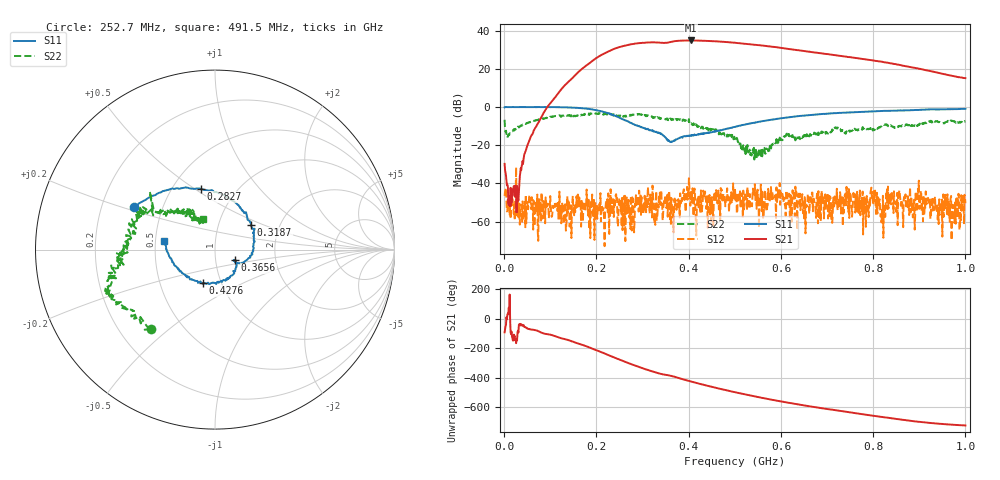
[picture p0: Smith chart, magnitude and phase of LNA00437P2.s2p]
! Created with skrf 1.9.0 (http://scikit-rf.org).
# Hz S RI R 50.0
!freq ReS11 ImS11 ReS21 ImS21 ReS12 ImS12 ReS22 ImS22
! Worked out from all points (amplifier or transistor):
!   1001 points, 1 MHz to 1 GHz, reference 50 ohm
!   highest |S21| = 34.9 dB at 404.6 MHz (marker M1)
!   |S21| within 3 dB of that: 256.9 MHz to 571.6 MHz (314.6 MHz wide, 76 % of centre)
!   unconditionally stable (mu >= 1): 231.8 MHz to 311.5 MHz; 401.3 MHz to 899 MHz; 899.1 MHz to end of sweep (the widest 3 of 39)
!   at 166.8 MHz: K = 4.72, MAG = 31.4 dB, |S12| = -62.6 dB
!   at 500.5 MHz: K = 1.46, MAG = 34.3 dB, |S12| = -42.9 dB
!   at 1 GHz: K = 4.20, MAG = 23.6 dB, |S12| = -50.4 dB
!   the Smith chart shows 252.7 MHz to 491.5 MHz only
!   S11 on the Smith chart (normalised r, x): 252.7 MHz: 0.34, +0.22; 282.7 MHz: 0.69, +0.53; 318.7 MHz: 1.43, +0.42; 365.6 MHz: 1.24, -0.15; 427.6 MHz: 0.82, -0.32; 491.5 MHz: 0.56, +0.06
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1000000  0.9828 0.00661  -0.00201 -0.0325  -0.00433 0.00189  0.3678 0.2826
1.09891e8  0.5206 -0.8499  -0.8447 -1.548  0.00274 0.00112  0.4427 -0.3769
1.67833e8  -0.2138 -0.907  -9.785 -0.6437  -6.4e-05 -0.00385  0.0262 -0.6302
2.13787e8  -0.6773 -0.341  -15.1 18.71  -0.00112 -0.00161  -0.2372 -0.6273
2.32768e8  -0.6426 -0.0189  -7.261 30.36  -0.00197 -0.000478  -0.2879 -0.5717
2.52748e8  -0.4506 0.2382  7.472 37.37  -0.000901 0.00165  -0.3538 -0.44
2.82718e8  -0.0767 0.3384  33.35 30.81  9.29e-05 0.00101  -0.5926 -0.25
3.02698e8  0.1169 0.2596  44.82 16.96  -0.00261 0.00168  -0.6007 -0.1753
3.18682e8  0.2013 0.1382  49.36 3.742  -0.00262 0.000826  -0.5641 -0.1008
3.34666e8  0.2109 -0.00475  47.98 -9.397  0.00198 0.0012  -0.5101 -0.0262
3.65635e8  0.1119 -0.0595  44.3 -27.16  -0.000387 0.00122  -0.4481 0.1541
4.04596e8  0.0407 -0.1731  21.78 -50.96  0.00242 0.00251  -0.3073 0.2014
4.27573e8  -0.0684 -0.1859  4.464 -54.31  0.00131 0.00174  -0.2068 0.2211
4.55545e8  -0.1972 -0.1218  -15.67 -50.42  0.00299 0.00523  -0.1649 0.1854
4.91509e8  -0.2822 0.0453  -33.73 -35.88  0.00373 0.00243  -0.0671 0.1689
5.005e8  -0.2864 0.0976  -36.95 -31.4  0.00649 -0.00303  -0.0906 0.1119
5.4046e8  -0.238 0.3035  -41.9 -10.37  0.00381 -0.00246  -0.046 0.0402
5.88412e8  -0.0571 0.4821  -35.68 9.991  0.00149 -0.00387  -0.1046 -0.0459
6.67333e8  0.3141 0.5408  -14.54 23.12  4.72e-05 -0.00577  -0.186 -0.0375
7.53247e8  0.62 0.3836  2.777 19.7  0.00245 -0.000664  -0.2346 0.0262
8.34166e8  0.783 0.1499  9.899 10.23  0.00182 -0.00261  -0.3351 0.027
1e9  0.8179 -0.3727  5.687 -0.521  -0.00123 0.00278  -0.262 0.3271
